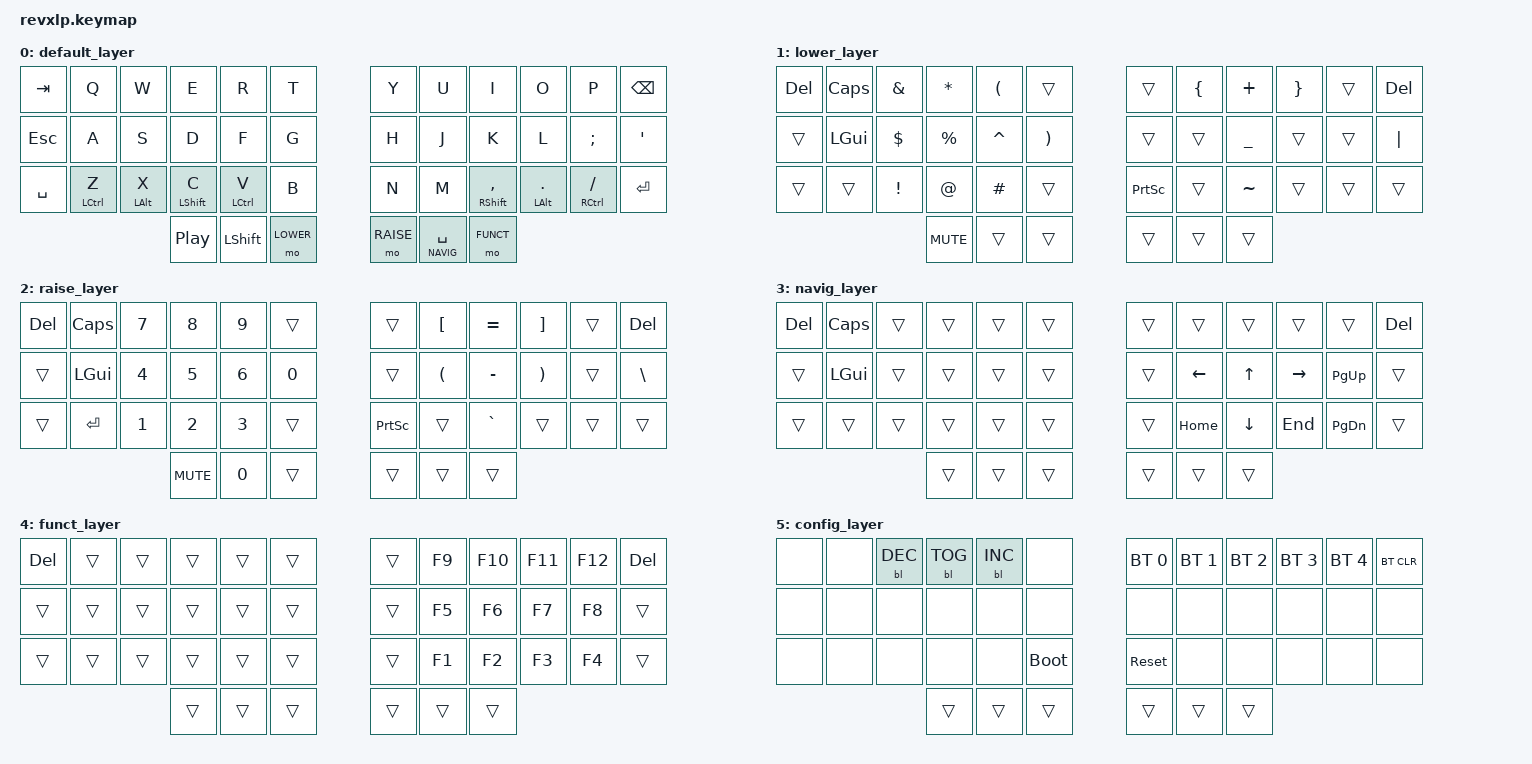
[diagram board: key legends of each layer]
/*
 * Copyright (c) 2020 The ZMK Contributors
 *
 * SPDX-License-Identifier: MIT
 */

#include <behaviors.dtsi>
#include <dt-bindings/zmk/keys.h>
#include <dt-bindings/zmk/bt.h>
#include <dt-bindings/zmk/backlight.h>

#define QWERTY_BASE 0
#define LOWER   1
#define RAISE   2
#define NAVIG   3
#define FUNCT   4
#define CONFIG  5

/ {
    tap_dances {
        shifty: shift_caps_word {
            compatible = "zmk,behavior-tap-dance";
            #binding-cells = <0>;
            tapping-term-ms = <150>;
            bindings = <&kp LSHFT>, <&caps_word>;
        };
    };
    cond_layers {
        compatible = "zmk,conditional-layers";
        tri {
            if-layers = <LOWER RAISE>;
            then-layer = <CONFIG>;
        };
    };
    behaviors {
        hm: homerow_mods {
            compatible = "zmk,behavior-hold-tap";
            #binding-cells = <2>;
            tapping-term-ms = <200>;
            quick_tap_ms = <0>;
            flavor = "tap-preferred";
            bindings = <&kp>, <&kp>;
        };
    };
    combos {
        compatible = "zmk,combos";
        combo_tab {
            timeout-ms = <30>;
            key-positions = <2 3>;
            bindings = <&kp TAB>;
        };
        combo_esc {
            timeout-ms = <30>;
            key-positions = <14 15>;
            bindings = <&kp ESC>;
        };
        combo_lbspc {
            timeout-ms = <70>;
            key-positions = <26 27>;
            bindings = <&kp BSPC>;
        };
        combo_ldel {
            timeout-ms = <70>;
            key-positions = <27 28>;
            bindings = <&kp DEL>;
        };
        combo_enter {
            timeout-ms = <40>;
            key-positions = <20 21>;
            bindings = <&kp ENTER>;
        };
        combo_rbspc {
            timeout-ms = <70>;
            key-positions = <31 32>;
            bindings = <&kp BSPC>;
        };
        combo_rdel {
            timeout-ms = <70>;
            key-positions = <32 33>;
            bindings = <&kp DEL>;
        };
    };


        keymap {
                compatible = "zmk,keymap";

        default_layer {
            bindings = <
                &kp TAB   &kp Q       &kp W      &kp E       &kp R       &kp T       &kp Y   &kp U       &kp I           &kp O        &kp P          &kp BSPC
                &kp ESC   &kp A       &kp S      &kp D       &kp F       &kp G       &kp H   &kp J       &kp K           &kp L        &kp SEMI       &kp SQT
                &kp SPACE &hm LCTRL Z &hm LALT X &hm LSHFT C &hm LCTRL V &kp B       &kp N   &kp M       &hm RSHFT COMMA &hm LALT DOT &hm RCTRL FSLH &kp RET
                                                       &kp C_PP &kp LSHFT &mo LOWER &mo RAISE &lt NAVIG SPACE &mo FUNCT
            >;
        };

        lower_layer {
            bindings = <
                &kp DEL  &kp CLCK &kp AMPS &kp ASTRK &kp LPAR  &trans         &trans    &kp LBRC  &kp PLUS  &kp RBRC  &trans    &kp DEL
                &trans   &kp LGUI &kp DLLR &kp PRCNT &kp CARET &kp RPAR       &trans    &trans    &kp UNDER &trans    &trans    &kp PIPE
                &trans   &trans   &kp EXCL &kp AT    &kp HASH  &trans         &kp PSCRN &trans    &kp TILDE &trans    &trans    &trans
                                              &kp C_MUTE &trans &trans &trans &trans &trans
            >;
        };

        raise_layer {
            bindings = <
                &kp DEL  &kp CLCK &kp N7   &kp N8   &kp N9   &trans         &trans    &kp LBKT  &kp EQUAL &kp RBKT  &trans    &kp DEL
                &trans   &kp LGUI &kp N4   &kp N5   &kp N6   &kp N0         &trans    &kp LPAR  &kp MINUS &kp RPAR  &trans    &kp BSLH
                &trans   &kp RET  &kp N1   &kp N2   &kp N3   &trans         &kp PSCRN &trans    &kp GRAVE &trans    &trans    &trans
                                            &kp C_MUTE &kp N0 &trans &trans &trans &trans
            >;
        };

        navig_layer {
            bindings = <
                &kp DEL  &kp CLCK &trans   &trans   &trans   &trans          &trans   &trans   &trans    &trans    &trans    &kp DEL
                &trans   &kp LGUI &trans   &trans   &trans   &trans          &trans   &kp LEFT &kp UP    &kp RIGHT &kp PG_UP &trans
                &trans   &trans   &trans   &trans   &trans   &trans          &trans   &kp HOME &kp DOWN  &kp END   &kp PG_DN &trans
                                            &trans   &trans   &trans     &trans   &trans   &trans
            >;
        };

        funct_layer {
            bindings = <
                &kp DEL  &trans   &trans   &trans   &trans   &trans          &trans   &kp F9   &kp F10  &kp F11  &kp F12  &kp DEL
                &trans   &trans   &trans   &trans   &trans   &trans          &trans   &kp F5   &kp F6   &kp F7   &kp F8   &trans
                &trans   &trans   &trans   &trans   &trans   &trans          &trans   &kp F1   &kp F2   &kp F3   &kp F4   &trans
                                            &trans   &trans   &trans     &trans   &trans   &trans
            >;
        };

        config_layer {
            bindings = <
                &none &none &bl BL_DEC &bl BL_TOG &bl BL_INC &none           &bt BT_SEL 0 &bt BT_SEL 1 &bt BT_SEL 2 &bt BT_SEL 3 &bt BT_SEL 4 &bt BT_CLR
                &none    &none    &none    &none    &none    &none           &none        &none        &none        &none        &none        &none
                &none    &none    &none    &none    &none    &bootloader     &sys_reset   &none        &none        &none        &none        &none
                                             &trans   &trans   &trans     &trans   &trans   &trans
            >;
        };
    };
};
